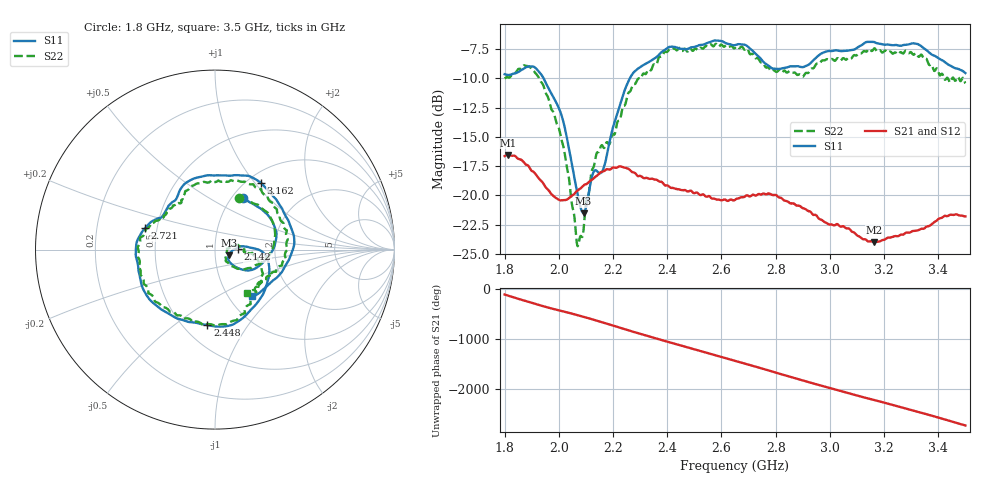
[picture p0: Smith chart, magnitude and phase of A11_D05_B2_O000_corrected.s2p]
! Created with skrf 1.9.0 (http://scikit-rf.org).
# Hz S RI R 50.0
!freq ReS11 ImS11 ReS21 ImS21 ReS12 ImS12 ReS22 ImS22
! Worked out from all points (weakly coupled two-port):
!   1601 points, 1.8 GHz to 3.5 GHz, reference 50 ohm
!   highest |S21| = -16.55 dB at 1.812 GHz (marker M1); lowest = -24.0 dB at 3.163 GHz (marker M2)
!   lowest |S11| = -21.5 dB at 2.091 GHz (marker M3), VSWR 1.18, Z = 58.3 - j3.66 ohm
!   |S11| at or under -10 dB: 1.944 GHz to 2.262 GHz (318.2 MHz wide, 15.1 % of centre)
!   |S22| runs from -24.3 to -7.1 dB; largest |S21 - S12| = 0.0027
!   S11 on the Smith chart (normalised r, x): 1.8 GHz: 1.13, +0.73; 2.142 GHz: 1.29, +0.01; 2.448 GHz: 0.65, -0.67; 2.721 GHz: 0.43, +0.12; 3.162 GHz: 1.15, +1.07; 3.5 GHz: 1.28, -0.75
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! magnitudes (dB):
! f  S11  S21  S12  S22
! 1.8 GHz  -9.7  -16.6  -16.6  -10.0
! 1.812 GHz  -9.7  -16.6  -16.6  -9.9
! 1.88 GHz  -9.0  -17.4  -17.4  -8.9
! 1.941 GHz  -9.9  -18.9  -18.9  -10.5
! 2.013 GHz  -13.4  -20.4  -20.4  -15.5
! 2.067 GHz  -19.6  -19.6  -19.6  -24.1
! 2.084 GHz  -21.3  -19.3  -19.3  -23.5
! 2.091 GHz  -21.5  -19.2  -19.2  -23.0
! 2.142 GHz  -18.0  -18.3  -18.3  -16.3
! 2.166 GHz  -17.6  -17.9  -17.9  -15.9
! 2.262 GHz  -10.0  -17.8  -17.8  -11.1
! 2.367 GHz  -8.0  -18.7  -18.7  -8.3
! 2.448 GHz  -7.5  -19.5  -19.5  -7.5
! 2.65 GHz  -7.2  -20.4  -20.4  -7.4
! 2.721 GHz  -7.8  -20.0  -19.9  -8.1
! 2.795 GHz  -9.2  -20.0  -20.0  -9.3
! 2.934 GHz  -8.6  -21.5  -21.5  -9.2
! 3.162 GHz  -6.9  -24.0  -23.9  -7.5
! 3.163 GHz  -6.9  -24.0  -24.0  -7.5
! 3.217 GHz  -7.1  -23.6  -23.6  -7.8
! 3.324 GHz  -7.1  -23.0  -23.0  -8.1
! 3.5 GHz  -9.6  -21.8  -21.8  -10.4
